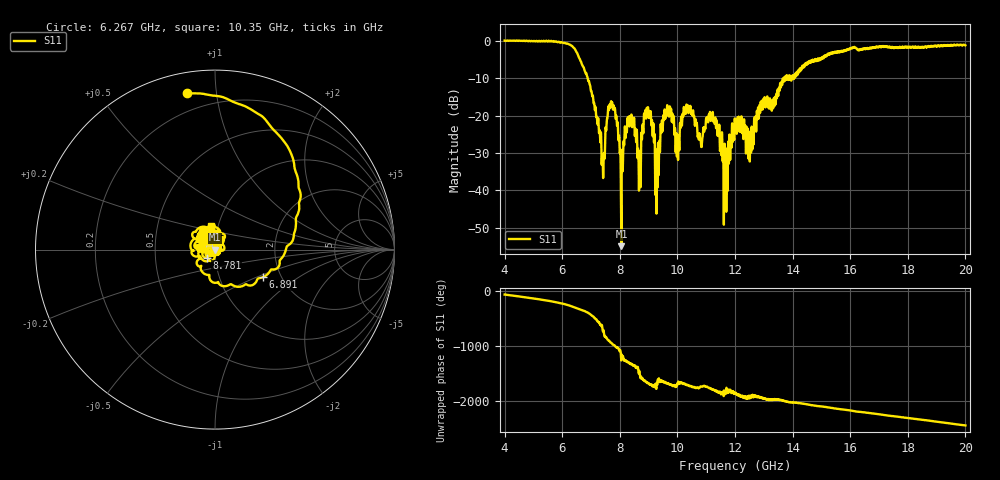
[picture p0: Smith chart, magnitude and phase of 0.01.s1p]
[Version] 2.0
! Rohde & Schwarz Vector Network Analyzer
! Rohde-Schwarz,ZNL20-2Port,1323001220200009,1.71.1.10-23.02.1.238
! Port Assignments:
! Nominal Port -> Actual Test Port
!  1 -> 1
! Created: GMT+2 2025-01-17 12:43:54
# Hz S RI R 50
[Number of Ports] 1
! freq[Hz]  S11[Re]  S11[Im]
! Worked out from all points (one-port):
!   16001 points, 4 GHz to 20 GHz, reference 50 ohm
!   lowest |S11| = -54.9 dB at 8.055 GHz (marker M1), VSWR 1.00, Z = 49.9 - j0.12 ohm
!   |S11| at or under -10 dB: 6.886 GHz to 13.7 GHz (6.812 GHz wide, 66.2 % of centre); 13.71181 GHz to 13.73971 GHz (27.9 MHz wide, 0.203 % of centre); 13.94128 GHz to 13.9639 GHz (22.62 MHz wide, 0.162 % of centre)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
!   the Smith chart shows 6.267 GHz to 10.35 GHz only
!   S11 on the Smith chart (normalised r, x): 6.267 GHz: 0.10, +0.83; 6.891 GHz: 1.61, -0.55; 8.781 GHz: 0.91, -0.08; 10.35 GHz: 0.92, +0.25
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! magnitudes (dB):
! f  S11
! 4 GHz  0.0
! 6 GHz  -0.5
! 6.267 GHz  -1.0
! 6.891 GHz  -10.2
! 7.401 GHz  -30.8
! 7.716 GHz  -16.7
! 7.862 GHz  -20.9
! 8 GHz  -30.0
! 8.055 GHz  -54.9
! 8.335 GHz  -22.8
! 8.658 GHz  -35.3
! 8.781 GHz  -23.7
! 9.005 GHz  -20.6
! 9.297 GHz  -29.8
! 9.487 GHz  -24.1
! 9.71 GHz  -20.2
! 10 GHz  -25.2
! 10.35 GHz  -17.5
! 10.79 GHz  -26.3
! 11.25 GHz  -21.7
! 11.67 GHz  -29.2
! 12 GHz  -21.5
! 12.54 GHz  -24.3
! 12.96 GHz  -18.3
! 14 GHz  -10.2
! 16 GHz  -2.0
! 18 GHz  -1.6
! 20 GHz  -1.2
